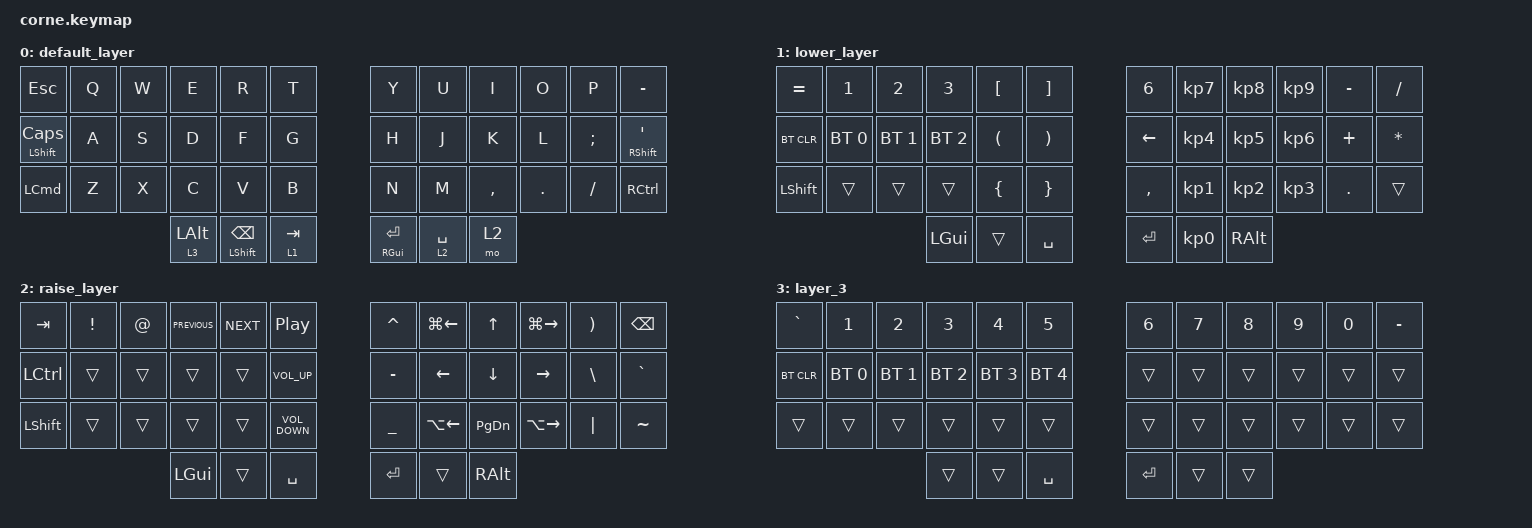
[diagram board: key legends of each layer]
#include <behaviors.dtsi>
#include <dt-bindings/zmk/bt.h>
#include <dt-bindings/zmk/keys.h>

/ {
    keymap {
        compatible = "zmk,keymap";

        default_layer {
            // -----------------------------------------------------------------------------------------
            // |  TAB |  Q  |  W  |  E  |  R  |  T  |   |  Y  |  U   |  I  |  O  |  P  | BKSP |
            // | CTRL |  A  |  S  |  D  |  F  |  G  |   |  H  |  J   |  K  |  L  |  ;  |  '   |
            // | SHFT |  Z  |  X  |  C  |  V  |  B  |   |  N  |  M   |  ,  |  .  |  /  | ESC  |
            //                    | GUI | LWR | SPC |   | ENT | RSE  | ALT |

            bindings = <
&kp ESC                  &kp Q  &kp W  &kp E           &kp R                     &kp T        &kp Y                &kp U        &kp I      &kp O    &kp P     &kp MINUS
&mt LEFT_SHIFT CAPSLOCK  &kp A  &kp S  &kp D           &kp F                     &kp G        &kp H                &kp J        &kp K      &kp L    &kp SEMI  &mt RIGHT_SHIFT SQT
&kp LCMD                 &kp Z  &kp X  &kp C           &kp V                     &kp B        &kp N                &kp M        &kp COMMA  &kp DOT  &kp FSLH  &kp RCTRL
                                       &lt 3 LEFT_ALT  &mt LEFT_SHIFT BACKSPACE  &lt 1 TAB    &mt RIGHT_GUI ENTER  &lt 2 SPACE  &mo 2
            >;
        };

        lower_layer {
            // -----------------------------------------------------------------------------------------
            // |  TAB |  1  |  2  |  3  |  4  |  5  |   |  6  |  7  |  8  |  9  |  0  | BKSP |
            // | BTCLR| BT1 | BT2 | BT3 | BT4 | BT5 |   | LFT | DWN |  UP | RGT |     |      |
            // | SHFT |     |     |     |     |     |   |     |     |     |     |     |      |
            //                    | GUI |     | SPC |   | ENT |     | ALT |

            bindings = <
&kp EQUAL   &kp N1        &kp N2        &kp N3        &kp LEFT_BRACKET      &kp RIGHT_BRACKET        &kp N6     &kp KP_NUMBER_7  &kp KP_NUMBER_8  &kp KP_NUMBER_9  &kp MINUS   &kp SLASH
&bt BT_CLR  &bt BT_SEL 0  &bt BT_SEL 1  &bt BT_SEL 2  &kp LEFT_PARENTHESIS  &kp RIGHT_PARENTHESIS    &kp LEFT   &kp KP_NUMBER_4  &kp KP_NUMBER_5  &kp KP_NUMBER_6  &kp PLUS    &kp ASTERISK
&kp LSHFT   &trans        &trans        &trans        &kp LEFT_BRACE        &kp RIGHT_BRACE          &kp COMMA  &kp KP_NUMBER_1  &kp KP_NUMBER_2  &kp KP_NUMBER_3  &kp PERIOD  &trans
                                        &kp LGUI      &trans                &kp SPACE                &kp RET    &kp KP_NUMBER_0  &kp RALT
            >;
        };

        raise_layer {
            // -----------------------------------------------------------------------------------------
            // |  TAB |  !  |  @  |  #  |  $  |  %  |   |  ^  |  &  |  *  |  (  |  )  | BKSP |
            // | CTRL |     |     |     |     |     |   |  -  |  =  |  [  |  ]  |  \  |  `   |
            // | SHFT |     |     |     |     |     |   |  _  |  +  |  {  |  }  | "|" |  ~   |
            //                    | GUI |     | SPC |   | ENT |     | ALT |

            bindings = <
&kp TAB    &kp EXCL  &kp AT  &kp C_PREVIOUS  &kp C_NEXT  &kp C_PLAY_PAUSE     &kp CARET  &kp LG(LEFT_ARROW)  &kp UP_ARROW   &kp LG(RIGHT)  &kp RPAR  &kp BSPC
&kp LCTRL  &trans    &trans  &trans          &trans      &kp C_VOLUME_UP      &kp MINUS  &kp LEFT_ARROW      &kp DOWN       &kp RIGHT      &kp BSLH  &kp GRAVE
&kp LSHFT  &trans    &trans  &trans          &trans      &kp C_VOLUME_DOWN    &kp UNDER  &kp LA(LEFT_ARROW)  &kp PAGE_DOWN  &kp LA(RIGHT)  &kp PIPE  &kp TILDE
                             &kp LGUI        &trans      &kp SPACE            &kp RET    &trans              &kp RALT
            >;
        };

        layer_3 {
            bindings = <
&kp GRAVE   &kp NUMBER_1  &kp NUMBER_2  &kp NUMBER_3  &kp NUMBER_4  &kp N5          &kp NUMBER_6  &kp N7  &kp N8  &kp N9  &kp N0  &kp MINUS
&bt BT_CLR  &bt BT_SEL 0  &bt BT_SEL 1  &bt BT_SEL 2  &bt BT_SEL 3  &bt BT_SEL 4    &trans        &trans  &trans  &trans  &trans  &trans
&trans      &trans        &trans        &trans        &trans        &trans          &trans        &trans  &trans  &trans  &trans  &trans
                                        &trans        &trans        &kp SPACE       &kp ENTER     &trans  &trans
            >;
        };
    };
};
